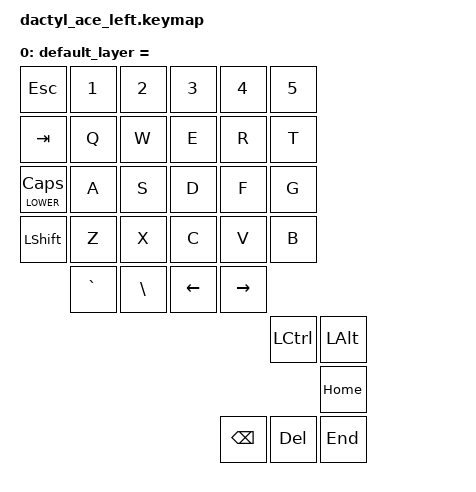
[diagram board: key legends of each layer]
#include <behaviors.dtsi>
#include <dt-bindings/zmk/keys.h>
#include <dt-bindings/zmk/bt.h>

/ {
    keymap {
        compatible = "zmk,keymap";

        default_layer = {
            bindings = <
                &kp ESC        &kp N1    &kp N2   &kp N3    &kp N4    &kp N5            
                &kp TAB        &kp Q     &kp W    &kp E     &kp R     &kp T             
                &lt LOWER CAPS &kp A     &kp S    &kp D     &kp F     &kp G             
                &kp LSHFT      &kp Z     &kp X    &kp C     &kp V     &kp B             
                            &kp GRAVE &kp BSLH &kp LEFT  &kp RIGHT                      
                                                                    &kp LCTRL &kp LALT  
                                                                                &kp HOME
                                                            &kp BSPC  &kp DEL   &kp END 
            >;
        };
    };
};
